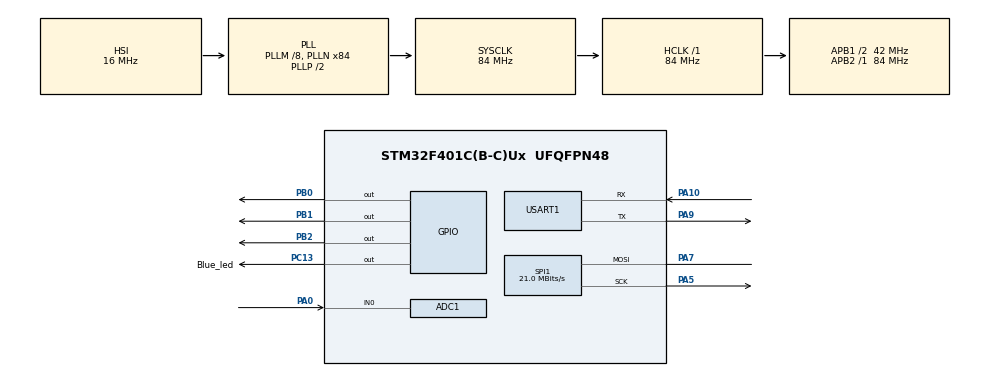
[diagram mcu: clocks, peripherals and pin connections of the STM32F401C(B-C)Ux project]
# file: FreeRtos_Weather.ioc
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ADC1.Channel-3\#ChannelRegularConversion=ADC_CHANNEL_0
ADC1.ContinuousConvMode=ENABLE
ADC1.NbrOfConversionFlag=1
ADC1.Rank-3\#ChannelRegularConversion=1
ADC1.SamplingTime-3\#ChannelRegularConversion=ADC_SAMPLETIME_3CYCLES
ADC1.master=1
Dma.Request0=USART1_RX
Dma.USART1_RX.0.Direction=DMA_PERIPH_TO_MEMORY
Dma.USART1_RX.0.FIFOMode=DMA_FIFOMODE_DISABLE
Dma.USART1_RX.0.Instance=DMA2_Stream2
Dma.USART1_RX.0.MemDataAlignment=DMA_MDATAALIGN_BYTE
Dma.USART1_RX.0.MemInc=DMA_MINC_ENABLE
Dma.USART1_RX.0.Mode=DMA_CIRCULAR
Dma.USART1_RX.0.PeriphDataAlignment=DMA_PDATAALIGN_BYTE
Dma.USART1_RX.0.PeriphInc=DMA_PINC_DISABLE
Dma.USART1_RX.0.Priority=DMA_PRIORITY_LOW
FREERTOS.Tasks01=defaultTask,24,128,StartDefaultTask,Default,NULL,Dynamic,NULL,NULL
Mcu.Family=STM32F4
Mcu.Name=STM32F401C(B-C)Ux
Mcu.Package=UFQFPN48
NVIC.DMA2_Stream2_IRQn=true\:5\:0\:false\:false\:true\:true\:false\:true\:true
NVIC.PriorityGroup=NVIC_PRIORITYGROUP_4
NVIC.TIM1_UP_TIM10_IRQn=true\:15\:0\:false\:false\:true\:false\:false\:true\:true
NVIC.TimeBase=TIM1_UP_TIM10_IRQn
NVIC.TimeBaseIP=TIM10
NVIC.USART1_IRQn=true\:15\:0\:true\:false\:true\:true\:true\:true\:true
PA0-WKUP.Signal=ADCx_IN0
PA10.Mode=Asynchronous
PA10.Signal=USART1_RX
PA13.Mode=Trace_Asynchronous_SW
PA13.Signal=SYS_JTMS-SWDIO
PA14.Mode=Trace_Asynchronous_SW
PA14.Signal=SYS_JTCK-SWCLK
PA5.Mode=Simplex_Bidirectional_Master
PA5.Signal=SPI1_SCK
PA7.Mode=Simplex_Bidirectional_Master
PA7.Signal=SPI1_MOSI
PA9.Mode=Asynchronous
PA9.Signal=USART1_TX
PB0.Signal=GPIO_Output
PB1.Signal=GPIO_Output
PB2.Signal=GPIO_Output
PB3.Mode=Trace_Asynchronous_SW
PB3.Signal=SYS_JTDO-SWO
PC13-ANTI_TAMP.GPIO_Label=Blue_led
PC13-ANTI_TAMP.Signal=GPIO_Output
PH0\ -\ OSC_IN.Mode=HSE-External-Oscillator
PH0\ -\ OSC_IN.Signal=RCC_OSC_IN
PH1\ -\ OSC_OUT.Mode=HSE-External-Oscillator
PH1\ -\ OSC_OUT.Signal=RCC_OSC_OUT
ProjectManager.HeapSize=0x200
ProjectManager.StackSize=0x400
ProjectManager.TargetToolchain=STM32CubeIDE
RCC.48MHZClocksFreq_Value=42000000
RCC.AHBFreq_Value=84000000
RCC.APB1CLKDivider=RCC_HCLK_DIV2
RCC.APB1Freq_Value=42000000
RCC.APB1TimFreq_Value=84000000
RCC.APB2Freq_Value=84000000
RCC.APB2TimFreq_Value=84000000
RCC.CortexFreq_Value=84000000
RCC.HCLKFreq_Value=84000000
RCC.HSE_VALUE=25000000
RCC.HSI_VALUE=16000000
RCC.LSE_VALUE=32768
RCC.PLLM=8
RCC.PLLN=84
RCC.SYSCLKFreq_VALUE=84000000
RCC.SYSCLKSource=RCC_SYSCLKSOURCE_PLLCLK
RCC.VCOOutputFreq_Value=168000000
SH.ADCx_IN0.0=ADC1_IN0,IN0
SPI1.BaudRatePrescaler=SPI_BAUDRATEPRESCALER_4
SPI1.CalculateBaudRate=21.0 MBits/s
SPI1.Direction=SPI_DIRECTION_1LINE
SPI1.Mode=SPI_MODE_MASTER
SPI1.VirtualType=VM_MASTER
TIM1.Prescaler=84
TIM2.AutoReloadPreload=TIM_AUTORELOAD_PRELOAD_ENABLE
TIM2.Period=4294967294
TIM2.Prescaler=84-1
TIM2.TIM_MasterSlaveMode=TIM_MASTERSLAVEMODE_DISABLE
USART1.VirtualMode=VM_ASYNC
VP_FREERTOS_VS_CMSIS_V2.Mode=CMSIS_V2
VP_SYS_VS_tim10.Mode=TIM10
VP_TIM1_VS_ClockSourceINT.Mode=Internal
VP_TIM2_VS_ClockSourceINT.Mode=Internal
board=custom

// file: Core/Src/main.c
/* USER CODE BEGIN Header */
/**
  ******************************************************************************
  * @file           : main.c
  * @brief          : Main program body
  ******************************************************************************
  * @attention
  *
  * Copyright (c) 2024 STMicroelectronics.
  * All rights reserved.
  *
  * This software is licensed under terms that can be found in the LICENSE file
  * in the root directory of this software component.
  * If no LICENSE file comes with this software, it is provided AS-IS.
  *
  ******************************************************************************
  */
/* USER CODE END Header */
#include "main.h"
#include "cmsis_os.h"

/* USER CODE BEGIN Includes */
#include <stdio.h>
#include <string.h>
#include "FreeRTOS.h"
#include "task.h"
#include "timers.h"
#include "queue.h"
#include "semphr.h"
#include "event_groups.h"
#include "ST7735.h"
#include "DHT11.h"
/* USER CODE END Includes */

/* USER CODE BEGIN PTD */

char ip[20]="";
char Time[8]="";
char AmPm[4]="";
char Date[21]="";
char Rx_Byte[32];
char RX_Cnt=0;
int16_t *Temp;
int16_t *Hum;
uint16_t ADC_VAL;
uint8_t Light_level;
uint8_t second,minute,hour;

/* USER CODE END PTD */

ADC_HandleTypeDef hadc1;

SPI_HandleTypeDef hspi1;

TIM_HandleTypeDef htim1;
TIM_HandleTypeDef htim2;

UART_HandleTypeDef huart1;
DMA_HandleTypeDef hdma_usart1_rx;

void SystemClock_Config(void);
static void MX_GPIO_Init(void);
static void MX_DMA_Init(void);
static void MX_SPI1_Init(void);
static void MX_TIM1_Init(void);
static void MX_ADC1_Init(void);
static void MX_USART1_UART_Init(void);
static void MX_TIM2_Init(void);
void StartDefaultTask(void *argument);

/* USER CODE BEGIN 0 */
/* Definitions for Tasks */
xTaskHandle Dht11_Task_Hnadler;
//xTaskHandle Time_Hnadler;
xTaskHandle ADC_Task_Hnadler;
xTaskHandle St7735_Task_Hnadler;
xTaskHandle Esp_8266_Task_Hnadler;

void Dht11_Task (void *argument)
{
	vTaskDelay(1000);
	while (1)
	{
		Get_Temp() ;    //DHT11 Sensor Read
		vTaskDelay(1000);
	}
}
/*
void Time_Task (void *argument)
{
	while (1)
	{
		uint64_t *timerValue = pvPortMalloc(50*sizeof(uint64_t));
		*timerValue = __HAL_TIM_GET_COUNTER(&htim2);
		HAL_GPIO_TogglePin(GPIOC, GPIO_PIN_13);
		vTaskDelay(1000);
		*timerValue = __HAL_TIM_GET_COUNTER(&htim2) - *timerValue ;
		//Time = Time + (uint32_t)(*timerValue/10000);
		vPortFree((void*)timerValue);
		//Get_Time();

	}
}
*/

void St7735_Task (void *argument)
{
	ST7735_Init(1);
	vTaskDelay(1000);
	LCD_Init();

	while (1)
	{

		HAL_GPIO_TogglePin(GPIOC, GPIO_PIN_13);
		char *str = pvPortMalloc(50*sizeof(char));
		sprintf(str, "%dC", Temp);
		ST7735_WriteString(114, 66, str , Font_11x18,GREEN,BLACK );//color565(48,213,200)
		sprintf(str, "%d", Hum);
		ST7735_WriteString(121, 88, str , Font_11x18,CYAN,BLACK );
		ST7735_WriteString(34, 22, Time , Font_11x18,WHITE,BLACK );
		ST7735_WriteString(90, 22, AmPm , Font_11x18,WHITE,BLACK);
		ST7735_WriteString(34, 47, Date , Font_7x10,WHITE,BLACK );
		sprintf(str, "%d",Light_level );
		//ST7735_FillRectangle(132, 110, 22, 18, color565(48,213,200));
		ST7735_WriteString(121, 110,str, Font_11x18,YELLOW,BLACK );
		ST7735_WriteString(24, 5,  ip, Font_7x10,CYAN,BLACK );
		vPortFree((void*)str);
		vTaskDelay(1000);
	}
}

void Esp_8266_Task (void *argument)
{
	//192.168.1.6Wed:May:202412:56AM Format for Time transfer over Uart
	HAL_UART_Receive_DMA (&huart1, Rx_Byte, 31);
	while (1)
	{
		char *str = pvPortMalloc(50*sizeof(char));
		sprintf(str, "C=%d,H=%d,L=%d ",Temp,Hum,Light_level );  //Send Temperatute , Humanity , Light over Uart
		HAL_UART_Transmit (&huart1, str, 4*sizeof (str), 10);
		HAL_UART_Transmit (&huart1, "\r\n", sizeof ("\r\n"), 10);
		slice(Rx_Byte, ip, 0, 11);  //slicing Uart data
		slice(Rx_Byte, Date, 11, 23);
		slice(Rx_Byte, Time, 23, 28);
		slice(Rx_Byte, AmPm, 28, 31);
		for(int i=0 ; i<=32;i++){
				Rx_Byte[i] = 0;
			}
		vPortFree((void*)str);
		vTaskDelay(1000);
	}
}
void ADC_Task (void *argument)
{
	while (1)
	{
    // ADC Read with Ldr for Light Level
		HAL_ADC_Start(&hadc1);
		HAL_ADC_PollForConversion(&hadc1, 10);
		ADC_VAL = HAL_ADC_GetValue(&hadc1);
		HAL_ADC_Stop(&hadc1);
		if (ADC_VAL>1700)
		{
			ADC_VAL = 1700;
			Light_level = 100;
		}
		else
		{
			Light_level = (uint8_t)((ADC_VAL/17));
		}

		vTaskDelay(1000);
	}
}

/* USER CODE END 0 */

int main(void)
{

  /* MCU Configuration--------------------------------------------------------*/

  /* Reset of all peripherals, Initializes the Flash interface and the Systick. */
  HAL_Init();

  /* Configure the system clock */
  SystemClock_Config();

  /* Initialize all configured peripherals */
  MX_GPIO_Init();
  MX_DMA_Init();
  MX_SPI1_Init();
  MX_TIM1_Init();
  MX_ADC1_Init();
  MX_USART1_UART_Init();
  MX_TIM2_Init();
  /* USER CODE BEGIN 2 */
  xTaskCreate(Dht11_Task, "Dht11", 128, NULL, 1, &Dht11_Task_Hnadler);
  //xTaskCreate(Time_Task, "Time", 128, NULL, 1, &Dht11_Task_Hnadler);
  xTaskCreate(ADC_Task, "ADC", 128, NULL, 1, &ADC_Task_Hnadler);
  xTaskCreate(St7735_Task, "St7735", 128, NULL, 2, &St7735_Task_Hnadler);
  xTaskCreate(Esp_8266_Task, "Esp_8266", 128, NULL, 1, &Esp_8266_Task_Hnadler);

  HAL_TIM_Base_Start(&htim1);
  HAL_TIM_Base_Start_IT(&htim2);
  __HAL_UART_ENABLE_IT(&huart1,UART_IT_RXNE);
  __HAL_TIM_ENABLE_IT(&htim2,TIM2_IRQn);
  vTaskStartScheduler();
  /* USER CODE END 2 */

  /* Init scheduler */
  osKernelInitialize();

  /* Create the thread(s) */
  /* creation of defaultTask */
  defaultTaskHandle = osThreadNew(StartDefaultTask, NULL, &defaultTask_attributes);

  /* Start scheduler */
  osKernelStart();

  /* We should never get here as control is now taken by the scheduler */

  /* Infinite loop */
  while (1)
  {

  }
}

void SystemClock_Config(void)
{
  RCC_OscInitTypeDef RCC_OscInitStruct = {0};
  RCC_ClkInitTypeDef RCC_ClkInitStruct = {0};

  /** Configure the main internal regulator output voltage
  */
  __HAL_RCC_PWR_CLK_ENABLE();
  __HAL_PWR_VOLTAGESCALING_CONFIG(PWR_REGULATOR_VOLTAGE_SCALE2);

  /** Initializes the RCC Oscillators according to the specified parameters
  * in the RCC_OscInitTypeDef structure.
  */
  RCC_OscInitStruct.OscillatorType = RCC_OSCILLATORTYPE_HSI;
  RCC_OscInitStruct.HSIState = RCC_HSI_ON;
  RCC_OscInitStruct.HSICalibrationValue = RCC_HSICALIBRATION_DEFAULT;
  RCC_OscInitStruct.PLL.PLLState = RCC_PLL_ON;
  RCC_OscInitStruct.PLL.PLLSource = RCC_PLLSOURCE_HSI;
  RCC_OscInitStruct.PLL.PLLM = 8;
  RCC_OscInitStruct.PLL.PLLN = 84;
  RCC_OscInitStruct.PLL.PLLP = RCC_PLLP_DIV2;
  RCC_OscInitStruct.PLL.PLLQ = 4;
  if (HAL_RCC_OscConfig(&RCC_OscInitStruct) != HAL_OK)
  {
    Error_Handler();
  }

  /** Initializes the CPU, AHB and APB buses clocks
  */
  RCC_ClkInitStruct.ClockType = RCC_CLOCKTYPE_HCLK|RCC_CLOCKTYPE_SYSCLK
                              |RCC_CLOCKTYPE_PCLK1|RCC_CLOCKTYPE_PCLK2;
  RCC_ClkInitStruct.SYSCLKSource = RCC_SYSCLKSOURCE_PLLCLK;
  RCC_ClkInitStruct.AHBCLKDivider = RCC_SYSCLK_DIV1;
  RCC_ClkInitStruct.APB1CLKDivider = RCC_HCLK_DIV2;
  RCC_ClkInitStruct.APB2CLKDivider = RCC_HCLK_DIV1;

  if (HAL_RCC_ClockConfig(&RCC_ClkInitStruct, FLASH_LATENCY_2) != HAL_OK)
  {
    Error_Handler();
  }
}

static void MX_ADC1_Init(void)
{

  ADC_ChannelConfTypeDef sConfig = {0};

  /** Configure the global features of the ADC (Clock, Resolution, Data Alignment and number of conversion)
  */
  hadc1.Instance = ADC1;
  hadc1.Init.ClockPrescaler = ADC_CLOCK_SYNC_PCLK_DIV4;
  hadc1.Init.Resolution = ADC_RESOLUTION_12B;
  hadc1.Init.ScanConvMode = DISABLE;
  hadc1.Init.ContinuousConvMode = ENABLE;
  hadc1.Init.DiscontinuousConvMode = DISABLE;
  hadc1.Init.ExternalTrigConvEdge = ADC_EXTERNALTRIGCONVEDGE_NONE;
  hadc1.Init.ExternalTrigConv = ADC_SOFTWARE_START;
  hadc1.Init.DataAlign = ADC_DATAALIGN_RIGHT;
  hadc1.Init.NbrOfConversion = 1;
  hadc1.Init.DMAContinuousRequests = DISABLE;
  hadc1.Init.EOCSelection = ADC_EOC_SINGLE_CONV;
  if (HAL_ADC_Init(&hadc1) != HAL_OK)
  {
    Error_Handler();
  }

  /** Configure for the selected ADC regular channel its corresponding rank in the sequencer and its sample time.
  */
  sConfig.Channel = ADC_CHANNEL_0;
  sConfig.Rank = 1;
  sConfig.SamplingTime = ADC_SAMPLETIME_3CYCLES;
  if (HAL_ADC_ConfigChannel(&hadc1, &sConfig) != HAL_OK)
  {
    Error_Handler();
  }

}

static void MX_SPI1_Init(void)
{

  /* SPI1 parameter configuration*/
  hspi1.Instance = SPI1;
  hspi1.Init.Mode = SPI_MODE_MASTER;
  hspi1.Init.Direction = SPI_DIRECTION_1LINE;
  hspi1.Init.DataSize = SPI_DATASIZE_8BIT;
  hspi1.Init.CLKPolarity = SPI_POLARITY_LOW;
  hspi1.Init.CLKPhase = SPI_PHASE_1EDGE;
  hspi1.Init.NSS = SPI_NSS_SOFT;
  hspi1.Init.BaudRatePrescaler = SPI_BAUDRATEPRESCALER_4;
  hspi1.Init.FirstBit = SPI_FIRSTBIT_MSB;
  hspi1.Init.TIMode = SPI_TIMODE_DISABLE;
  hspi1.Init.CRCCalculation = SPI_CRCCALCULATION_DISABLE;
  hspi1.Init.CRCPolynomial = 10;
  if (HAL_SPI_Init(&hspi1) != HAL_OK)
  {
    Error_Handler();
  }

}

static void MX_TIM1_Init(void)
{

  TIM_ClockConfigTypeDef sClockSourceConfig = {0};
  TIM_MasterConfigTypeDef sMasterConfig = {0};

  htim1.Instance = TIM1;
  htim1.Init.Prescaler = 84;
  htim1.Init.CounterMode = TIM_COUNTERMODE_UP;
  htim1.Init.Period = 65535;
  htim1.Init.ClockDivision = TIM_CLOCKDIVISION_DIV1;
  htim1.Init.RepetitionCounter = 0;
  htim1.Init.AutoReloadPreload = TIM_AUTORELOAD_PRELOAD_DISABLE;
  if (HAL_TIM_Base_Init(&htim1) != HAL_OK)
  {
    Error_Handler();
  }
  sClockSourceConfig.ClockSource = TIM_CLOCKSOURCE_INTERNAL;
  if (HAL_TIM_ConfigClockSource(&htim1, &sClockSourceConfig) != HAL_OK)
  {
    Error_Handler();
  }
  sMasterConfig.MasterOutputTrigger = TIM_TRGO_RESET;
  sMasterConfig.MasterSlaveMode = TIM_MASTERSLAVEMODE_DISABLE;
  if (HAL_TIMEx_MasterConfigSynchronization(&htim1, &sMasterConfig) != HAL_OK)
  {
    Error_Handler();
  }

}

static void MX_TIM2_Init(void)
{

  TIM_ClockConfigTypeDef sClockSourceConfig = {0};
  TIM_MasterConfigTypeDef sMasterConfig = {0};

  htim2.Instance = TIM2;
  htim2.Init.Prescaler = 84-1;
  htim2.Init.CounterMode = TIM_COUNTERMODE_UP;
  htim2.Init.Period = 4294967294;
  htim2.Init.ClockDivision = TIM_CLOCKDIVISION_DIV1;
  htim2.Init.AutoReloadPreload = TIM_AUTORELOAD_PRELOAD_ENABLE;
  if (HAL_TIM_Base_Init(&htim2) != HAL_OK)
  {
    Error_Handler();
  }
  sClockSourceConfig.ClockSource = TIM_CLOCKSOURCE_INTERNAL;
  if (HAL_TIM_ConfigClockSource(&htim2, &sClockSourceConfig) != HAL_OK)
  {
    Error_Handler();
  }
  sMasterConfig.MasterOutputTrigger = TIM_TRGO_RESET;
  sMasterConfig.MasterSlaveMode = TIM_MASTERSLAVEMODE_DISABLE;
  if (HAL_TIMEx_MasterConfigSynchronization(&htim2, &sMasterConfig) != HAL_OK)
  {
    Error_Handler();
  }

}

static void MX_USART1_UART_Init(void)
{

  huart1.Instance = USART1;
  huart1.Init.BaudRate = 115200;
  huart1.Init.WordLength = UART_WORDLENGTH_8B;
  huart1.Init.StopBits = UART_STOPBITS_1;
  huart1.Init.Parity = UART_PARITY_NONE;
  huart1.Init.Mode = UART_MODE_TX_RX;
  huart1.Init.HwFlowCtl = UART_HWCONTROL_NONE;
  huart1.Init.OverSampling = UART_OVERSAMPLING_16;
  if (HAL_UART_Init(&huart1) != HAL_OK)
  {
    Error_Handler();
  }

}

static void MX_DMA_Init(void)
{

  /* DMA controller clock enable */
  __HAL_RCC_DMA2_CLK_ENABLE();

  /* DMA interrupt init */
  /* DMA2_Stream2_IRQn interrupt configuration */
  HAL_NVIC_SetPriority(DMA2_Stream2_IRQn, 5, 0);
  HAL_NVIC_EnableIRQ(DMA2_Stream2_IRQn);

}

static void MX_GPIO_Init(void)
{
  GPIO_InitTypeDef GPIO_InitStruct = {0};

  /* GPIO Ports Clock Enable */
  __HAL_RCC_GPIOC_CLK_ENABLE();
  __HAL_RCC_GPIOH_CLK_ENABLE();
  __HAL_RCC_GPIOA_CLK_ENABLE();
  __HAL_RCC_GPIOB_CLK_ENABLE();

  /*Configure GPIO pin Output Level */
  HAL_GPIO_WritePin(Blue_led_GPIO_Port, Blue_led_Pin, GPIO_PIN_RESET);

  /*Configure GPIO pin Output Level */
  HAL_GPIO_WritePin(GPIOB, GPIO_PIN_0|GPIO_PIN_1|GPIO_PIN_2, GPIO_PIN_RESET);

  /*Configure GPIO pin : Blue_led_Pin */
  GPIO_InitStruct.Pin = Blue_led_Pin;
  GPIO_InitStruct.Mode = GPIO_MODE_OUTPUT_PP;
  GPIO_InitStruct.Pull = GPIO_NOPULL;
  GPIO_InitStruct.Speed = GPIO_SPEED_FREQ_LOW;
  HAL_GPIO_Init(Blue_led_GPIO_Port, &GPIO_InitStruct);

  /*Configure GPIO pins : PB0 PB1 PB2 */
  GPIO_InitStruct.Pin = GPIO_PIN_0|GPIO_PIN_1|GPIO_PIN_2;
  GPIO_InitStruct.Mode = GPIO_MODE_OUTPUT_PP;
  GPIO_InitStruct.Pull = GPIO_NOPULL;
  GPIO_InitStruct.Speed = GPIO_SPEED_FREQ_LOW;
  HAL_GPIO_Init(GPIOB, &GPIO_InitStruct);

}

/* USER CODE BEGIN 4 */
void LCD_Init(){
	fillScreen(BLACK );
	ST7735_WriteString(5, 4,  "Ip:", Font_7x10,CYAN,BLACK );
	//ST7735_WriteString(5, 22, "Time:", Font_11x18,WHITE,color565(48,213,200) );
	ST7735_WriteString(5, 66, "Temp    :", Font_11x18,GREEN,BLACK );
	ST7735_WriteString(5, 88, "Humanity:%", Font_11x18,CYAN,BLACK );
	ST7735_WriteString(5, 110, "Light   :%", Font_11x18,YELLOW,BLACK );
}
void Get_Temp()
{
	Mesuerement_t *Mes;
	uint8_t Rh_byte1, Rh_byte2, Temp_byte1, Temp_byte2;
	int16_t SUM, RH, TEMP;
	uint8_t Presence = 1;
	DHT11_Start();
	Presence = Check_Response();
	Rh_byte1 = DHT11_Read ();
	Rh_byte2 = DHT11_Read ();
	Temp_byte1 = DHT11_Read ();
	Temp_byte2 = DHT11_Read ();
  SUM = DHT11_Read();
  Temp = Temp_byte1;
  Hum = Rh_byte1;
}
/*
void Get_Time()
{
	second = Time/60;
	minute = second/60;
	hour = minute/60;

	second %= 60;
	minute %= 60;
	hour %= 60;
	if(hour>24){
	   hour = 0;
	}

}
*/
void slice(const char* str, char* result, size_t start, size_t end) {
    strncpy(result, str + start, end - start);
}
void HAL_UART_RxHalfCpltCallback(UART_HandleTypeDef *huart)
{
	HAL_GPIO_TogglePin(GPIOC, GPIO_PIN_13);  // toggle PC13
}
void HAL_UART_RxCpltCallback(UART_HandleTypeDef *huart)
{
	HAL_UART_Receive_DMA(&huart1, Rx_Byte, 31);
}
/* USER CODE END 4 */

void StartDefaultTask(void *argument)
{
  for(;;)
  {
    osDelay(1);
  }
}

void HAL_TIM_PeriodElapsedCallback(TIM_HandleTypeDef *htim)
{
  if (htim->Instance == TIM10) {
    HAL_IncTick();
  }
}

void Error_Handler(void)
{
  __disable_irq();
  while (1)
  {
  }
}
